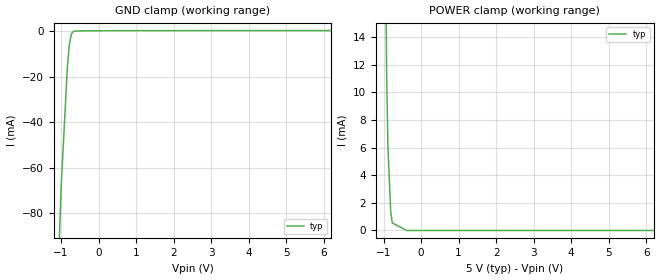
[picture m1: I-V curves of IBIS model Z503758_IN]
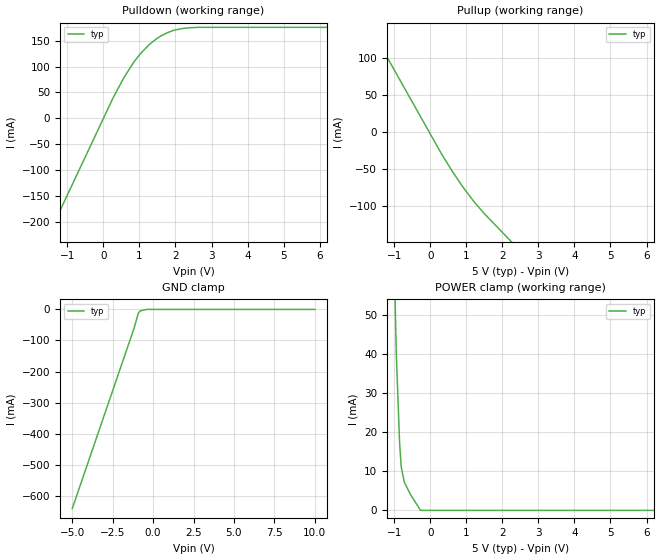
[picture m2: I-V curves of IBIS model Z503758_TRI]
| YOU ARE ONLY AUTHORIZED TO USE THIS SOFTWARE
| ACCORDING TO LICENSOR'S LICENSE RESTRICTIONS.
[IBIS Ver] 3.1
[File Name] mc74ac240n_5.ibs
[File Rev] 2.0
[Source] Measured and created by ICX Technology
[Date] Friday 7/14/00 9:07:59 AM
[Copyright]
| (C) COPYRIGHT 1993-2000
| MENTOR GRAPHICS CORPORATION
| ICX STANDARD LIBRARY, ICX PROJECT MODELING,
| ICX CUSTOM MODELING, ICX VENDOR MODEL
| ALL RIGHTS RESERVED.
| THE FOLLOWING ARE TRADEMARKS OR SERVICE MARKS OF
| MENTOR GRAPHICS CORPORATION:ICX (R), ICX STANDARD
| LIBRARY(R), ICX PROJECT MODELING(R), ICX CUSTOM
| MODELING(R), qualityIBIS(TM), MODELVIEWER(TM),
| AND MODELEDITOR(TM)
| ALL COPIES OF SOFTWARE, INCLUDING BUT NOT LIMITED TO
| ANY MODIFICATIONS, ENHANCEMENTS OR DERIVATIVE WORKS,
| MUST CONTAIN ALL MENTOR GRAPHICS CORPORATION'S
| NOTICES AND LEGENDS, INCLUDING THOSE EMBEDDED IN
| SOFTWARE AND THOSE AFFIXED TO SOFTWARE MEDIUM
| AND CONTAINER, AS RECEIVED FROM MENTOR GRAPHICS
| CORPORATION.
|  ZAP Model Builder 2.7
[Component] MC74AC240N_5
[Manufacturer] OnSemiconductor
[Package]
| variable   typ   min   max
R_pkg  .216ohms NA NA
L_pkg  5.76nH NA NA
C_pkg  1.29pF NA NA
[Pin] signal_name  model_name  R_pin  L_pin C_pin
1 _G Z503758_IN .232 9.76n 1.87p
2 A0 Z503758_IN .224 7.26n 1.58p
3 _Y3 Z503758_TRI .216 5.26n 1.29p
4 A1 Z503758_IN .208 3.76n 1.0p
5 _Y2 Z503758_TRI .2 2.76n .71p
6 A2 Z503758_IN .2 2.76n .71p
7 _Y1 Z503758_TRI .208 3.76n 1.0p
8 A3 Z503758_IN .216 5.26n 1.29p
9 _Y0 Z503758_TRI .224 7.26n 1.58p
10 GROUND GND .232 9.76n 1.87p
11 A0 Z503758_IN .232 9.76n 1.87p
12 _Y3 Z503758_TRI .224 7.26n 1.58p
13 A1 Z503758_IN .216 5.26n 1.29p
14 _Y2 Z503758_TRI .208 3.76n 1.0p
15 A2 Z503758_IN .2 2.76n .71p
16 _Y1 Z503758_TRI .2 2.76n .71p
17 A3 Z503758_IN .208 3.76n 1.0p
18 _Y0 Z503758_TRI .216 5.26n 1.29p
19 _G Z503758_IN .224 7.26n 1.58p
20 VCC POWER .232 9.76n 1.87p
| Models and submodels in the file (2): Z503758_IN (Input), Z503758_TRI (3-state)
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| (C) COPYRIGHT 1993-2000
| MENTOR GRAPHICS CORPORATION
| ICX STANDARD LIBRARY, ICX PROJECT MODELING,
| ICX CUSTOM MODELING, ICX VENDOR MODEL
| ALL RIGHTS RESERVED.
| THE FOLLOWING ARE TRADEMARKS OR SERVICE MARKS OF
| MENTOR GRAPHICS CORPORATION:ICX (R), ICX STANDARD
| LIBRARY(R), ICX PROJECT MODELING(R), ICX CUSTOM
| MODELING(R), qualityIBIS(TM), MODELVIEWER(TM),
| AND MODELEDITOR(TM)
| ALL COPIES OF SOFTWARE, INCLUDING BUT NOT LIMITED TO
| ANY MODIFICATIONS, ENHANCEMENTS OR DERIVATIVE WORKS,
| MUST CONTAIN ALL MENTOR GRAPHICS CORPORATION'S
| NOTICES AND LEGENDS, INCLUDING THOSE EMBEDDED IN
| SOFTWARE AND THOSE AFFIXED TO SOFTWARE MEDIUM
| AND CONTAINER, AS RECEIVED FROM MENTOR GRAPHICS
| CORPORATION.
| Model Application Version 1.89 2/18/99.
[Model] Z503758_IN
Model_type Input
Vinl = 1.500V
Vinh = 3.500V
C_comp 4.000pF NA NA
| variable typ   min   max
[Voltage Range] 5.000V NA NA
[GND Clamp Reference] 0.000V NA NA
[POWER Clamp Reference] 5.000V NA NA
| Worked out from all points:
|   GND clamp passes 1 mA (typ) near -0.71 V on its own axis
|   POWER clamp passes 1 mA (typ) near -0.79 V on its own axis
[GND Clamp]
-5V       -2.369A    NA         NA
-1.089V   -111.1mA   NA         NA
-993.6mV  -67.31mA   NA         NA
-830.2mV  -15.6mA    NA         NA
-781.3mV  -6.273mA   NA         NA
-727.7mV  -1.509mA   NA         NA
-684.4mV  -399.8uA   NA         NA
-645.2mV  -67.71uA   NA         NA
10V       169.3uA    NA         NA
[POWER Clamp]
-5V       2.896A     NA         NA
-1.113V   91.57mA    NA         NA
-1.009V   38.77mA    NA         NA
-916mV    11.14mA    NA         NA
-884mV    6.172mA    NA         NA
-810mV    1.404mA    NA         NA
-767mV    545uA      NA         NA
-383.5mV  0A         NA         NA
10V       0A         NA         NA
| (C) COPYRIGHT 1993-2000
| MENTOR GRAPHICS CORPORATION
| ICX STANDARD LIBRARY, ICX PROJECT MODELING,
| ICX CUSTOM MODELING, ICX VENDOR MODEL
| ALL RIGHTS RESERVED.
| THE FOLLOWING ARE TRADEMARKS OR SERVICE MARKS OF
| MENTOR GRAPHICS CORPORATION:ICX (R), ICX STANDARD
| LIBRARY(R), ICX PROJECT MODELING(R), ICX CUSTOM
| MODELING(R), qualityIBIS(TM), MODELVIEWER(TM),
| AND MODELEDITOR(TM)
| ALL COPIES OF SOFTWARE, INCLUDING BUT NOT LIMITED TO
| ANY MODIFICATIONS, ENHANCEMENTS OR DERIVATIVE WORKS,
| MUST CONTAIN ALL MENTOR GRAPHICS CORPORATION'S
| NOTICES AND LEGENDS, INCLUDING THOSE EMBEDDED IN
| SOFTWARE AND THOSE AFFIXED TO SOFTWARE MEDIUM
| AND CONTAINER, AS RECEIVED FROM MENTOR GRAPHICS
| CORPORATION.
| Model Application Version 1.89 2/18/99.
[Model] Z503758_TRI
Model_type 3-state
Vref=0.000V
Rref=500.0ohms
Cref=50.00pF
Vmeas=2.500V
C_comp 8.000pF NA NA
| variable typ   min   max
[Voltage Range] 5.000V NA NA
[POWER Clamp Reference] 5.000V NA NA
[Pullup Reference] 5.000V NA NA
[Pulldown Reference] 0.000V NA NA
[GND Clamp Reference] 0.000V NA NA
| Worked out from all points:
|   slope of the pulldown table from 0 to 0.75 V, typ, clamps not added: 7.63 ohm
|   slope of the pullup table from 0 to 0.75 V, typ, clamps not added: 12.4 ohm
[GND Clamp]
-5V       -641.2mA   NA         NA
-1.174V   -60.14mA   NA         NA
-923.2mV  -13.47mA   NA         NA
-815.1mV  -5.024mA   NA         NA
-407.6mV  0A         NA         NA
10V       0A         NA         NA
[Pulldown]
-5V       -738.1mA   NA         NA
264.5mV   39.1mA     NA         NA
563.2mV   77.82mA    NA         NA
828.7mV   107mA      NA         NA
1.011V    123.5mA    NA         NA
1.273V    142.4mA    NA         NA
1.479V    153.8mA    NA         NA
1.782V    165.4mA    NA         NA
2.174V    173mA      NA         NA
2.611V    175.5mA    NA         NA
10V       175.5mA    NA         NA
[Pullup]
-5V       430mA      NA         NA
314mV     -29.66mA   NA         NA
625mV     -54.12mA   NA         NA
904mV     -74.06mA   NA         NA
1.201V    -93.25mA   NA         NA
1.485V    -109.4mA   NA         NA
10V       -539.6mA   NA         NA
[POWER Clamp]
-5V       2.104A     NA         NA
-1.098V   104mA      NA         NA
-942mV    40.02mA    NA         NA
-852mV    17.47mA    NA         NA
-806mV    11.14mA    NA         NA
-719mV    7.187mA    NA         NA
-542mV    3.957mA    NA         NA
-271mV    0A         NA         NA
10V       0A         NA         NA
[Ramp]
| variable typ min max
dV/dt_r 2.949/785.7p NA NA
dV/dt_f 2.949/557.2p NA NA
R_load = 500.0Ohms
